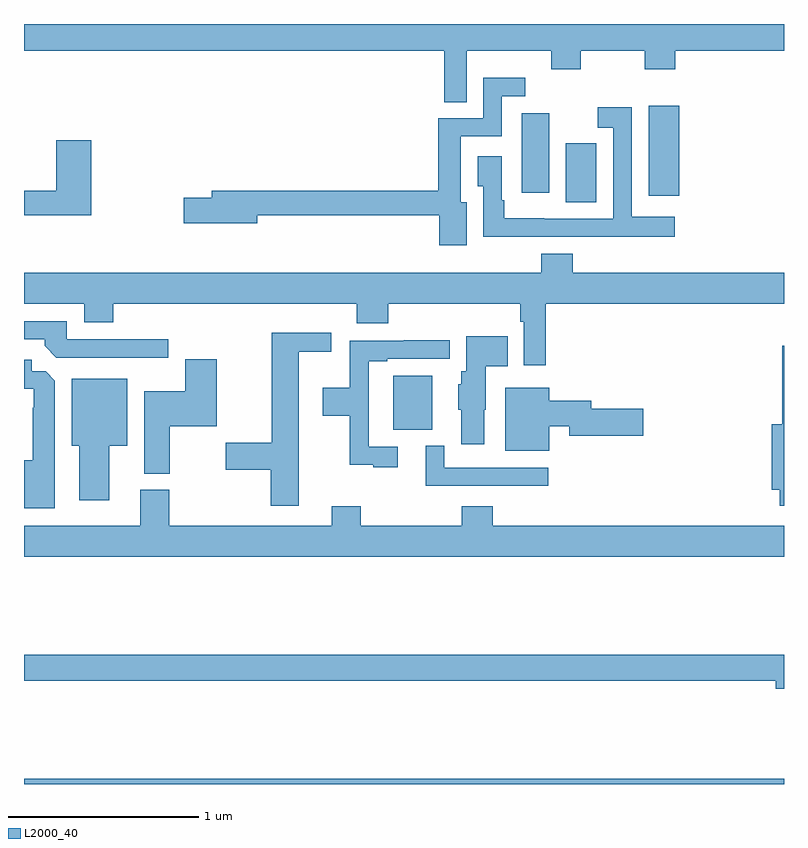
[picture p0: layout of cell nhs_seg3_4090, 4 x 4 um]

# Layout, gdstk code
import gdstk
lib = gdstk.Library(unit=1e-6, precision=1e-09)
def R(c, l, rs):  # rectangles x0, y0, x1, y1
    for r in rs: c.add(gdstk.rectangle(r[:2], r[2:], *l))
def P(c, l, *ps):  # polygons
    for p in ps: c.add(gdstk.Polygon(p, *l))
L2000_40 = (2000, 40)

nhs_seg3_4090 = lib.new_cell('nhs_seg3_4090')
R(nhs_seg3_4090, L2000_40, [(327,686.4,331,686.428), (328.943,688.265,329.149,688.549), (329.852,689.461,330.013,689.772), (330.287,689.496,330.448,689.971), (329.621,689.513,329.764,689.929)])
P(nhs_seg3_4090, L2000_40, [(329.329,690.26),(329.776,690.26),(329.776,690.161),(329.931,690.161),(329.931,690.26),(330.268,690.26),(330.268,690.161),(330.428,690.161),(330.428,690.26),(331,690.26),(331,690.4),(327,690.4),(327,690.26),(329.211,690.26),(329.211,689.989),(329.329,689.989)],
  [(329.329,689.463),(329.299,689.463),(329.299,689.808),(329.514,689.808),(329.514,690.021),(329.638,690.021),(329.638,690.118),(329.418,690.118),(329.418,689.904),(329.181,689.904),(329.181,689.522),(327.989,689.522),(327.989,689.486),(327.84,689.486),(327.84,689.351),(328.228,689.351),(328.228,689.394),(329.186,689.394),(329.186,689.235),(329.329,689.235)],
  [(329.639,689.28),(330.005,689.28),(330.005,689.279),(330.424,689.279),(330.424,689.386),(330.198,689.386),(330.198,689.962),(330.021,689.962),(330.021,689.853),(330.102,689.853),(330.102,689.376),(329.739,689.376),(329.739,689.377),(329.527,689.377),(329.527,689.473),(329.514,689.473),(329.514,689.704),(329.387,689.704),(329.387,689.545),(329.418,689.545),(329.418,689.279),(329.639,689.279)],
  [(327.353,689.788),(327.17,689.788),(327.17,689.522),(327,689.522),(327,689.394),(327.353,689.394)],
  [(327,688.928),(327.317,688.928),(327.317,688.829),(327.47,688.829),(327.47,688.928),(328.751,688.928),(328.751,688.826),(328.916,688.826),(328.916,688.928),(329.611,688.928),(329.611,688.832),(329.631,688.832),(329.631,688.605),(329.747,688.605),(329.747,688.928),(331,688.928),(331,689.092),(329.888,689.092),(329.888,689.191),(329.723,689.191),(329.723,689.092),(327,689.092)],
  [(327.76,688.74),(327.225,688.74),(327.225,688.836),(327,688.836),(327,688.74),(327.11,688.74),(327.11,688.706),(327.171,688.644),(327.76,688.644)],
  [(328.447,688.676),(328.618,688.676),(328.618,688.774),(328.303,688.774),(328.303,688.196),(328.062,688.196),(328.062,688.054),(328.298,688.054),(328.298,687.864),(328.447,687.864)],
  [(329.422,688.371),(329.431,688.371),(329.431,688.598),(329.546,688.598),(329.546,688.756),(329.327,688.756),(329.327,688.572),(329.3,688.572),(329.3,688.503),(329.285,688.503),(329.285,688.371),(329.3,688.371),(329.3,688.188),(329.422,688.188)],
  [(328.966,688.176),(328.815,688.176),(328.815,688.626),(328.912,688.626),(328.912,688.638),(329.242,688.638),(329.242,688.736),(328.999,688.736),(328.999,688.734),(328.714,688.734),(328.714,688.486),(328.572,688.486),(328.572,688.339),(328.714,688.339),(328.714,688.079),(328.838,688.079),(328.838,688.068),(328.966,688.068)],
  [(331,688.707),(330.991,688.707),(330.991,688.294),(330.935,688.294),(330.935,687.95),(330.978,687.95),(330.978,687.864),(331,687.864)],
  [(327.766,688.283),(328.014,688.283),(328.014,688.636),(327.848,688.636),(327.848,688.468),(327.632,688.468),(327.632,688.033),(327.766,688.033)],
  [(327.163,688.523),(327.114,688.572),(327.04,688.572),(327.04,688.633),(327,688.633),(327,688.479),(327.051,688.479),(327.051,688.379),(327.047,688.379),(327.047,688.105),(327,688.105),(327,687.851),(327.163,687.851)],
  [(327.448,688.181),(327.544,688.181),(327.544,688.534),(327.251,688.534),(327.251,688.181),(327.29,688.181),(327.29,687.894),(327.448,687.894)],
  [(329.764,688.283),(329.87,688.283),(329.87,688.234),(330.259,688.234),(330.259,688.376),(329.986,688.376),(329.986,688.418),(329.764,688.418),(329.764,688.486),(329.534,688.486),(329.534,688.154),(329.764,688.154)],
  [(329.758,688.065),(329.211,688.065),(329.211,688.18),(329.114,688.18),(329.114,687.969),(329.758,687.969)],
  [(331,687.76),(329.468,687.76),(329.468,687.862),(329.303,687.862),(329.303,687.76),(328.772,687.76),(328.772,687.862),(328.619,687.862),(328.619,687.76),(327.764,687.76),(327.764,687.948),(327.611,687.948),(327.611,687.76),(327,687.76),(327,687.596),(331,687.596)],
  [(331,687.08),(327,687.08),(327,686.944),(330.956,686.944),(330.956,686.902),(331,686.902)])

lib.write_gds('nhs_seg3_4090.gds')
